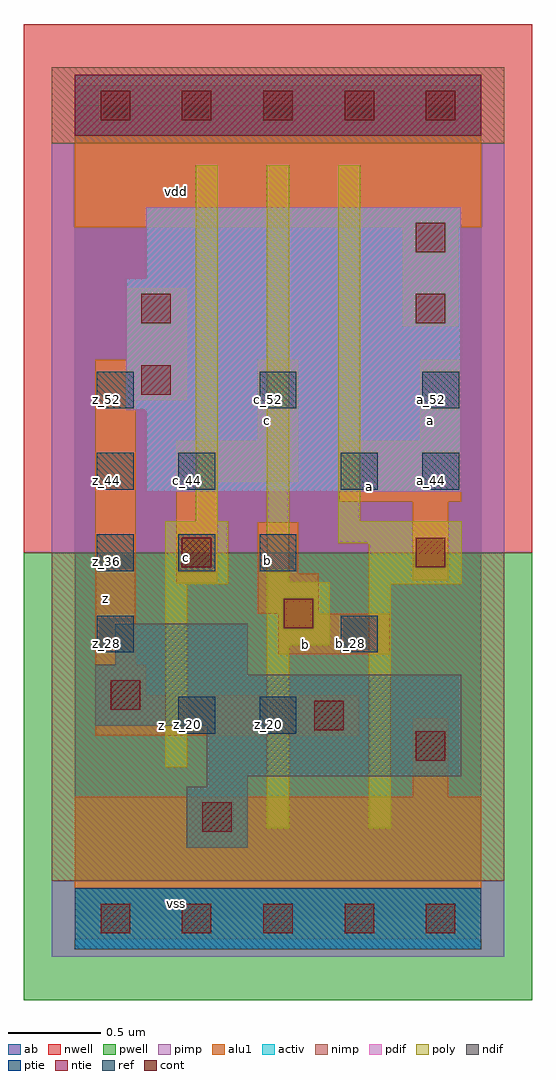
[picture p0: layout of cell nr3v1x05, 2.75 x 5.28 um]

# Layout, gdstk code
import gdstk
lib = gdstk.Library(unit=1e-6, precision=2.5e-09)
def R(c, l, rs):  # rectangles x0, y0, x1, y1
    for r in rs: c.add(gdstk.rectangle(r[:2], r[2:], *l))
def A(c, l, x, y, w, h, nx, ny, dx, dy):  # array of equal rectangles
    R(c, l, [(x+i*dx, y+j*dy, x+i*dx+w, y+j*dy+h) for i in range(nx) for j in range(ny)])
ndif = (3, 0)
pdif = (4, 0)
ntie = (5, 0)
ptie = (6, 0)
ref = (24, 0)
cont = (25, 0)
pwell = (41, 0)
nwell = (42, 0)
activ = (43, 0)
pimp = (44, 0)
nimp = (45, 0)
poly = (46, 0)
alu1 = (49, 0)
ab = (63, 0)

nr3v1x05 = lib.new_cell('nr3v1x05')
R(nr3v1x05, ndif, [(0.605,0.385,0.935,0.715), (0.715,0.715,0.935,0.77), (0.715,0.77,2.09,1.045), (0.11,1.045,2.09,1.32), (0.11,1.32,0.935,1.375), (0.22,1.375,0.935,1.595)])
R(nr3v1x05, pdif, [(0.385,2.31,2.09,2.75), (0.275,2.75,2.09,3.465), (0.385,3.465,2.09,3.85)])
R(nr3v1x05, ntie, [(0,4.235,2.2,4.565)])
R(nr3v1x05, ptie, [(0,-0.165,2.2,0.165)])
A(nr3v1x05, ref, 0.12, 1.88, 0.2, 0.2, 3, 1, 0.44, 0)
A(nr3v1x05, ref, 0.12, 2.76, 0.2, 0.2, 3, 1, 0.88, 0)
R(nr3v1x05, ref, [(0.56,1,0.76,1.2), (1,1,1.2,1.2), (0.12,1.44,0.32,1.64), (1.44,1.44,1.64,1.64), (0.12,2.32,0.32,2.52), (0.56,2.32,0.76,2.52), (1.44,2.32,1.64,2.52), (1.88,2.32,2.08,2.52)])
A(nr3v1x05, cont, 0.14, -0.08, 0.16, 0.16, 5, 2, 0.44, 4.4)
R(nr3v1x05, cont, [(0.69,0.47,0.85,0.63), (1.845,0.855,2.005,1.015), (1.295,1.02,1.455,1.18), (0.195,1.13,0.355,1.29), (1.13,1.57,1.29,1.73), (0.58,1.9,0.74,2.06), (1.845,1.9,2.005,2.06), (0.36,2.835,0.52,2.995), (0.36,3.22,0.52,3.38), (1.845,3.22,2.005,3.38), (1.845,3.605,2.005,3.765)])
R(nr3v1x05, pwell, [(-0.275,-0.44,2.475,1.98)])
R(nr3v1x05, nwell, [(-0.275,1.98,2.475,4.84)])
R(nr3v1x05, activ, [(0,-0.165,2.2,0.165), (0.605,0.385,0.935,0.715), (0.715,0.715,0.935,0.77), (0.715,0.77,2.09,1.045), (0.11,1.045,2.09,1.32), (0.11,1.32,0.935,1.375), (0.22,1.375,0.935,1.595), (0.385,2.31,2.09,2.75), (0.275,2.75,2.09,3.465), (0.385,3.465,2.09,3.85), (0,4.235,2.2,4.565)])
R(nr3v1x05, pimp, [(-0.125,-0.205,2.325,0.205), (-0.125,1.98,2.325,4.195)])
R(nr3v1x05, nimp, [(-0.125,0.205,2.325,1.98), (-0.125,4.195,2.325,4.605)])
R(nr3v1x05, poly, [(1.04,0.49,1.16,1.48), (1.59,0.49,1.71,1.81), (0.49,0.82,0.61,1.81), (1.04,1.48,1.38,1.82), (0.49,1.81,0.83,2.15), (1.59,1.81,2.095,2.03), (1.04,1.82,1.16,4.075), (1.425,2.03,2.095,2.15), (0.655,2.15,0.775,4.075), (1.425,2.15,1.545,4.075)])
R(nr3v1x05, alu1, [(0,-0.11,2.2,0.66), (1.83,0.66,2.02,1.085), (0.11,0.99,1.54,1.21), (0.11,1.21,0.385,1.375), (0.11,1.375,0.33,2.805), (1.1,1.43,1.705,1.65), (0.99,1.65,1.32,1.87), (0.55,1.815,0.77,2.365), (1.83,1.83,2.02,2.255), (0.99,1.87,1.21,2.145), (1.43,2.255,2.09,2.585), (0.55,2.365,1.21,2.585), (0.99,2.585,1.21,3.025), (1.87,2.585,2.09,3.025), (0.11,2.805,0.605,3.025), (0.275,3.025,0.605,3.41), (1.775,3.205,2.075,3.74), (0,3.74,2.2,4.51)])
R(nr3v1x05, ab, [(0,0,2.2,4.4)])
nr3v1x05.add(gdstk.Label('vss', (0.55,0.0825), layer=49, texttype=0))
nr3v1x05.add(gdstk.Label('z', (0.4675,1.045), layer=49, texttype=0))
nr3v1x05.add(gdstk.Label('b', (1.25,1.485), layer=49, texttype=0))
nr3v1x05.add(gdstk.Label('b', (1.045,1.9375), layer=49, texttype=0))
nr3v1x05.add(gdstk.Label('a', (1.595,2.3375), layer=49, texttype=0))
nr3v1x05.add(gdstk.Label('c', (0.605,1.9525), layer=49, texttype=0))
nr3v1x05.add(gdstk.Label('a', (1.925,2.695), layer=49, texttype=0))
nr3v1x05.add(gdstk.Label('c', (1.045,2.695), layer=49, texttype=0))
nr3v1x05.add(gdstk.Label('z', (0.165,1.7325), layer=49, texttype=0))
nr3v1x05.add(gdstk.Label('vdd', (0.55,3.9325), layer=49, texttype=0))
nr3v1x05.add(gdstk.Label('z_20', (1.05,1.05), layer=24, texttype=0))
nr3v1x05.add(gdstk.Label('z_20', (0.61,1.05), layer=24, texttype=0))
nr3v1x05.add(gdstk.Label('z_52', (0.17,2.81), layer=24, texttype=0))
nr3v1x05.add(gdstk.Label('z_44', (0.17,2.37), layer=24, texttype=0))
nr3v1x05.add(gdstk.Label('z_36', (0.17,1.93), layer=24, texttype=0))
nr3v1x05.add(gdstk.Label('z_28', (0.17,1.49), layer=24, texttype=0))
nr3v1x05.add(gdstk.Label('a_44', (1.93,2.37), layer=24, texttype=0))
nr3v1x05.add(gdstk.Label('b_28', (1.49,1.49), layer=24, texttype=0))
nr3v1x05.add(gdstk.Label('c_52', (1.05,2.81), layer=24, texttype=0))
nr3v1x05.add(gdstk.Label('b_36', (1.05,1.93), layer=24, texttype=0))
nr3v1x05.add(gdstk.Label('c_44', (0.61,2.37), layer=24, texttype=0))
nr3v1x05.add(gdstk.Label('c_36', (0.61,1.93), layer=24, texttype=0))
nr3v1x05.add(gdstk.Label('a_52', (1.93,2.81), layer=24, texttype=0))
nr3v1x05.add(gdstk.Label('a_44', (1.49,2.37), layer=24, texttype=0))

lib.write_gds('nr3v1x05.gds')
